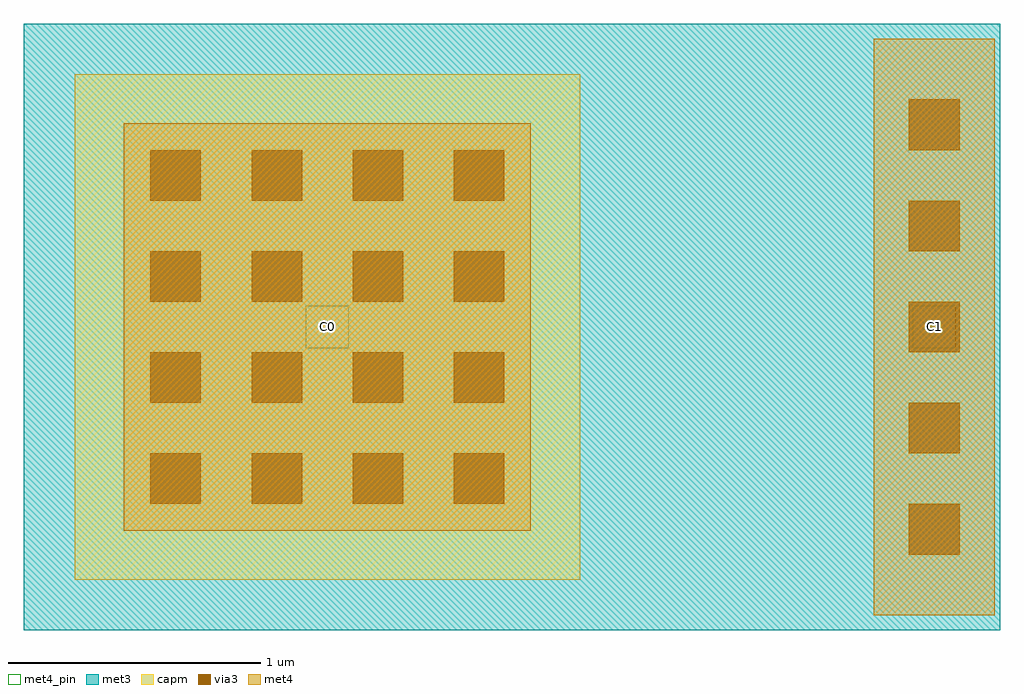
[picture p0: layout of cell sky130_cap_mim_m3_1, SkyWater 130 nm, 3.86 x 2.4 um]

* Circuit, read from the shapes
.subckt sky130_cap_mim_m3_1 C0 C1
XC1 C0 C1 sky130_fd_pr__cap_mim_m3_1 w=2 l=2
.ends

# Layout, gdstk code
import gdstk
lib = gdstk.Library(unit=1e-6, precision=1e-09)
def R(c, l, rs):  # rectangles x0, y0, x1, y1
    for r in rs: c.add(gdstk.rectangle(r[:2], r[2:], *l))
def A(c, l, x, y, w, h, nx, ny, dx, dy):  # array of equal rectangles
    R(c, l, [(x+i*dx, y+j*dy, x+i*dx+w, y+j*dy+h) for i in range(nx) for j in range(ny)])
met3 = (70, 20)
via3 = (70, 44)
met4_pin = (71, 16)
met4 = (71, 20)
capm = (89, 44)

mim_cap = lib.new_cell('mim_cap')
R(mim_cap, met3, [(-0.2,-0.2,3.66,2.2)])
A(mim_cap, via3, 3.3, 0.1, 0.2, 0.2, 1, 5, 0, 0.4)
A(mim_cap, via3, 0.3, 0.3, 0.2, 0.2, 4, 4, 0.4, 0.4)
R(mim_cap, met4, [(3.16,-0.14,3.64,2.14), (0.195,0.195,1.805,1.805)])
R(mim_cap, capm, [(0,0,2,2)])

sky130_cap_mim_m3_1 = lib.new_cell('sky130_cap_mim_m3_1')
R(sky130_cap_mim_m3_1, met4_pin, [(0.915,0.915,1.085,1.085), (3.315,0.915,3.485,1.085)])
sky130_cap_mim_m3_1.add(gdstk.Reference(mim_cap, (0,0)))
sky130_cap_mim_m3_1.add(gdstk.Label('C0', (1,1), layer=71, texttype=5))
sky130_cap_mim_m3_1.add(gdstk.Label('C1', (3.4,1), layer=71, texttype=5))

lib.write_gds('sky130_cap_mim_m3_1.gds')
